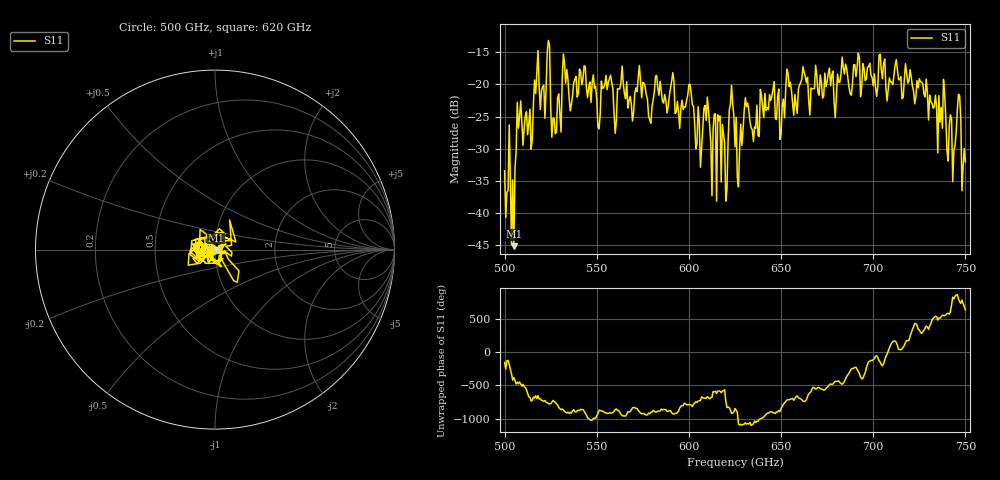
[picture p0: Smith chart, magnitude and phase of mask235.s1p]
!Created with skrf (http://scikit-rf.org).
# GHz S MA R 50.0
!freq magS11 angS11
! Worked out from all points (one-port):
!   401 points, 500 GHz to 750 GHz, reference 50 ohm
!   lowest |S11| = -45.2 dB at 505 GHz (marker M1), VSWR 1.01, Z = 50.5 - j0.248 ohm
!   |S11| at or under -10 dB: start of sweep to end of sweep
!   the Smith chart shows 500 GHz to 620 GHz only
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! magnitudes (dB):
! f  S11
! 500 GHz  -33.5
! 505 GHz  -45.2
! 508.1 GHz  -25.0
! 513.8 GHz  -23.9
! 516.9 GHz  -21.4
! 523.8 GHz  -13.1
! 526.9 GHz  -25.3
! 531.2 GHz  -19.1
! 550.6 GHz  -26.6
! 562.5 GHz  -20.7
! 579.4 GHz  -26.0
! 590.6 GHz  -19.5
! 593.8 GHz  -22.7
! 600.6 GHz  -20.0
! 605.6 GHz  -25.9
! 609.4 GHz  -25.6
! 620 GHz  -38.2
! 623.1 GHz  -20.1
! 625 GHz  -29.7
! 627.5 GHz  -30.1
! 631.2 GHz  -23.5
! 635 GHz  -28.9
! 656.2 GHz  -23.0
! 687.5 GHz  -21.5
! 718.8 GHz  -19.8
! 743.8 GHz  -30.3
! 746.2 GHz  -21.5
! 750 GHz  -32.1
